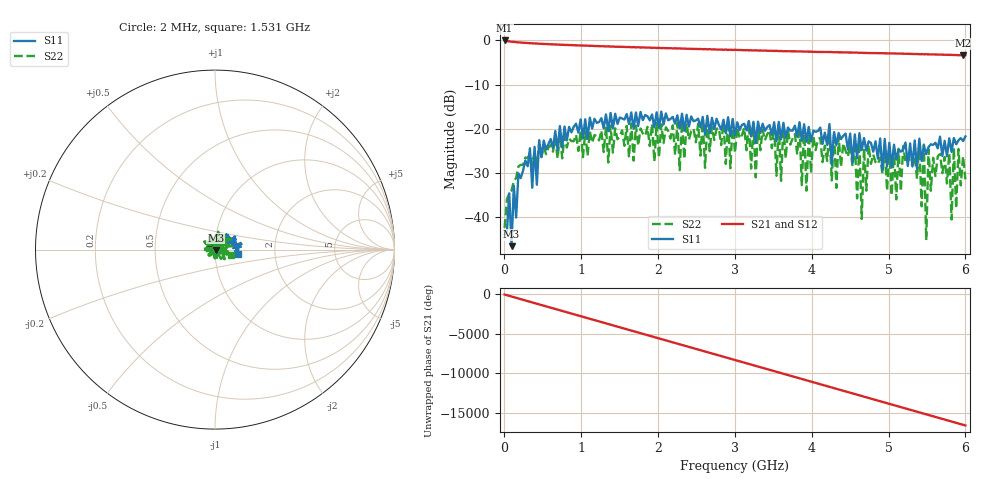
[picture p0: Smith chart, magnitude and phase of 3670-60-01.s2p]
!Agilent N9923A: A.07.32
!Date: Thursday, 07 January 2016 23:01:26
!Model: N9923A
!Serial: MY52412257
!GPS Latitude:
!GPS Longitude:
!GPS TimeStamp: 0001-01-01 00:00:00Z
!GPS Seconds Since Last Read: 0
!CHECKSUM:1771198235
!Correction: S11(ON Q)S21(ON Q)S12(ON Q)S22(ON Q)
!S2P File: Measurements:S11,S21,S12,S22:
# Hz S DB R 50
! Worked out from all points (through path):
!   201 points, 2 MHz to 6 GHz, reference 50 ohm
!   highest |S21| = -0.05 dB at 2 MHz (marker M1); lowest = -3.4 dB at 5.97 GHz (marker M2)
!   lowest |S11| = -46.5 dB at 91.97 MHz (marker M3), VSWR 1.01, Z = 50.4 - j0.222 ohm
!   |S11| at or under -10 dB: start of sweep to end of sweep
!   |S22| runs from -45.1 to -18.0 dB; largest |S21 - S12| = 0.008
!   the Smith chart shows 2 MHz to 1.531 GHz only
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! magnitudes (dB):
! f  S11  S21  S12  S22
! 2 MHz  -43.9  0.0  0.0  -42.3
! 91.97 MHz  -46.5  -0.3  -0.3  -34.0
! 331.9 MHz  -24.4  -0.7  -0.7  -25.7
! 1.022 GHz  -22.1  -1.2  -1.2  -26.4
! 2.011 GHz  -19.8  -1.7  -1.7  -26.5
! 3.001 GHz  -21.5  -2.2  -2.2  -25.4
! 4.021 GHz  -20.4  -2.6  -2.6  -21.6
! 4.62 GHz  -21.0  -2.8  -2.8  -22.9
! 4.65 GHz  -24.8  -2.8  -2.8  -40.4
! 4.68 GHz  -22.1  -2.9  -2.9  -24.5
! 5.01 GHz  -23.1  -3.0  -3.0  -24.7
! 5.4 GHz  -22.2  -3.1  -3.1  -23.5
! 5.43 GHz  -27.2  -3.1  -3.1  -37.5
! 5.46 GHz  -23.8  -3.2  -3.2  -23.6
! 5.49 GHz  -25.7  -3.2  -3.2  -45.1
! 5.52 GHz  -24.1  -3.2  -3.2  -24.6
! 5.79 GHz  -22.1  -3.3  -3.3  -25.5
! 5.82 GHz  -25.2  -3.3  -3.3  -40.5
! 5.85 GHz  -22.1  -3.3  -3.3  -24.3
! 5.88 GHz  -23.5  -3.3  -3.3  -37.9
! 5.97 GHz  -22.8  -3.4  -3.4  -26.2
! 6 GHz  -21.7  -3.4  -3.4  -31.4
